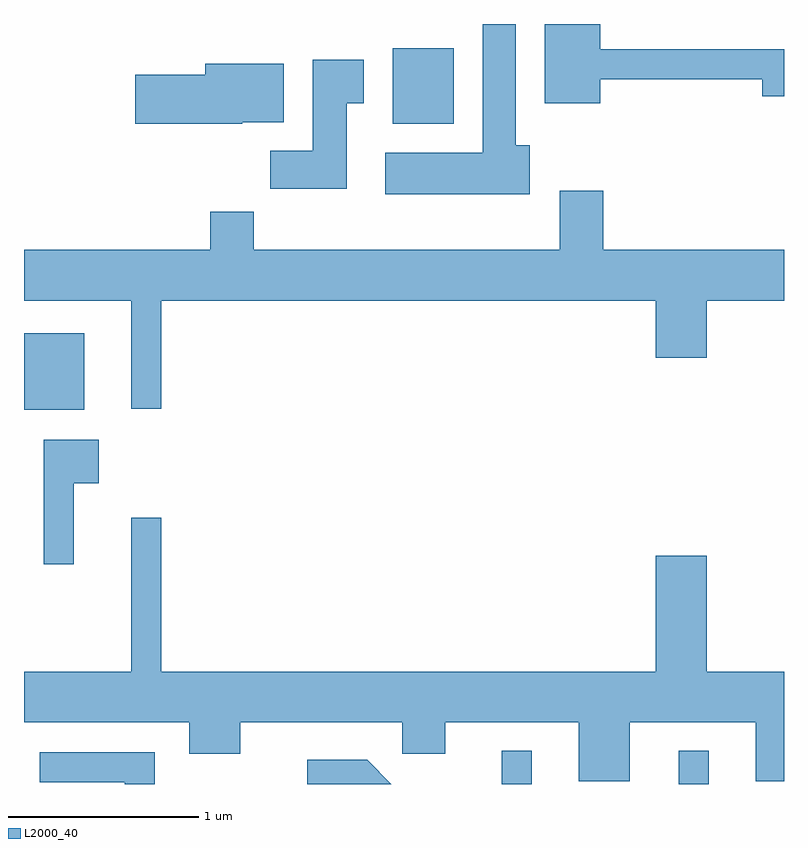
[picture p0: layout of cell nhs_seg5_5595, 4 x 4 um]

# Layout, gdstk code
import gdstk
lib = gdstk.Library(unit=1e-6, precision=1e-09)
def R(c, l, rs):  # rectangles x0, y0, x1, y1
    for r in rs: c.add(gdstk.rectangle(r[:2], r[2:], *l))
def P(c, l, *ps):  # polygons
    for p in ps: c.add(gdstk.Polygon(p, *l))
L2000_40 = (2000, 40)

nhs_seg5_5595 = lib.new_cell('nhs_seg5_5595')
R(nhs_seg5_5595, L2000_40, [(354.126,1412.072,354.284,1412.248), (355.056,1412.072,355.214,1412.248), (351.611,1414.041,351.929,1414.444), (353.551,1415.546,353.874,1415.944)])
P(nhs_seg5_5595, L2000_40, [(354.274,1415.434),(354.199,1415.434),(354.199,1416.072),(353.963,1416.072),(353.963,1416.071),(354.026,1416.071),(354.026,1415.394),(353.511,1415.394),(353.511,1415.176),(354.274,1415.176)],
  [(354.644,1415.781),(355.496,1415.781),(355.496,1415.691),(355.611,1415.691),(355.611,1415.939),(354.644,1415.939),(354.644,1416.072),(354.351,1416.072),(354.351,1415.656),(354.644,1415.656)],
  [(353.309,1415.656),(353.399,1415.656),(353.399,1415.884),(353.131,1415.884),(353.131,1415.404),(352.906,1415.404),(352.906,1415.206),(353.309,1415.206)],
  [(352.76,1415.556),(352.979,1415.556),(352.979,1415.864),(352.566,1415.864),(352.566,1415.804),(352.196,1415.804),(352.196,1415.546),(352.76,1415.546)],
  [(352.334,1414.616),(354.936,1414.616),(354.936,1414.316),(355.204,1414.316),(355.204,1414.616),(355.611,1414.616),(355.611,1414.884),(354.659,1414.884),(354.659,1415.194),(354.431,1415.194),(354.431,1414.884),(352.819,1414.884),(352.819,1415.084),(352.591,1415.084),(352.591,1414.884),(351.611,1414.884),(351.611,1414.616),(352.176,1414.616),(352.176,1414.048),(352.334,1414.048)],
  [(351.874,1413.656),(352.004,1413.656),(352.004,1413.884),(351.716,1413.884),(351.716,1413.228),(351.874,1413.228)],
  [(354.799,1412.396),(355.461,1412.396),(355.461,1412.086),(355.611,1412.086),(355.611,1412.664),(355.204,1412.664),(355.204,1413.274),(354.936,1413.274),(354.936,1412.664),(352.334,1412.664),(352.334,1413.473),(352.176,1413.473),(352.176,1412.664),(351.611,1412.664),(351.611,1412.396),(352.481,1412.396),(352.481,1412.231),(352.749,1412.231),(352.749,1412.396),(353.601,1412.396),(353.601,1412.231),(353.829,1412.231),(353.829,1412.396),(354.531,1412.396),(354.531,1412.086),(354.799,1412.086)],
  [(352.299,1412.239),(351.693,1412.239),(351.693,1412.081),(352.141,1412.081),(352.141,1412.072),(352.299,1412.072)],
  [(353.417,1412.199),(353.103,1412.199),(353.103,1412.072),(353.544,1412.072)])

lib.write_gds('nhs_seg5_5595.gds')
